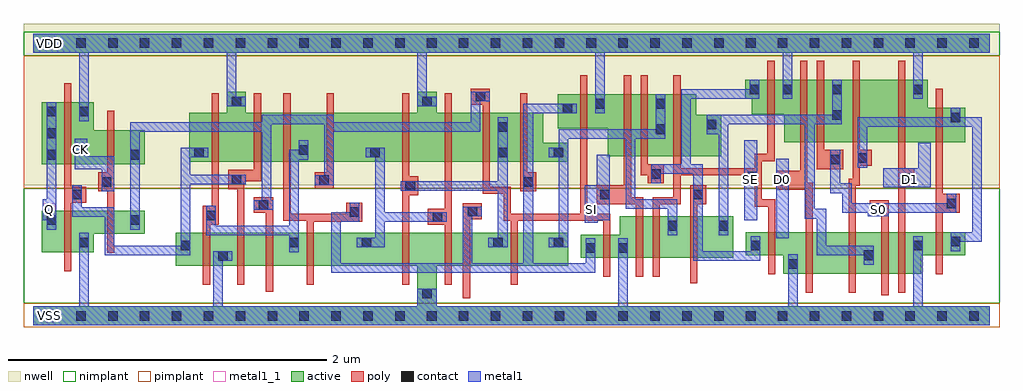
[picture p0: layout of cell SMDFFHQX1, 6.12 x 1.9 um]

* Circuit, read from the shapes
.subckt SMDFFHQX1 CK D0 D1 Q S0 SE SI VDD VSS
M1 VSS n1 Q VSS nfet w=0.26u l=0.045u
M2 n2 CK VSS VSS nfet w=0.145u l=0.045u
M3 VSS n3 n1 VSS nfet w=0.205u l=0.045u
M4 n4 n1 VSS VSS nfet w=0.205u l=0.045u
M5 n3 n2 n4 VSS nfet w=0.205u l=0.045u
M6 n5 n6 n3 VSS nfet w=0.205u l=0.045u
M7 VSS n7 n5 VSS nfet w=0.205u l=0.045u
M8 n8 n5 VSS VSS nfet w=0.205u l=0.045u
M9 n7 n6 n8 VSS nfet w=0.205u l=0.045u
M10 n9 n2 n7 VSS nfet w=0.205u l=0.045u
M11 VSS n2 n6 VSS nfet w=0.145u l=0.045u
M12 n10 SI VSS VSS nfet w=0.26u l=0.045u
M13 n9 SE n10 VSS nfet w=0.26u l=0.045u
M14 n11 n12 n9 VSS nfet w=0.26u l=0.045u
M15 VSS SE n12 VSS nfet w=0.145u l=0.045u
M16 n13 D0 VSS VSS nfet w=0.26u l=0.045u
M17 n11 n14 n13 VSS nfet w=0.26u l=0.045u
M18 n15 S0 n11 VSS nfet w=0.26u l=0.045u
M19 VSS D1 n15 VSS nfet w=0.26u l=0.045u
M20 n14 S0 VSS VSS nfet w=0.145u l=0.045u
M21 VDD n1 Q VDD pfet w=0.39u l=0.045u
M22 n2 CK VDD VDD pfet w=0.215u l=0.045u
M23 VDD n3 n1 VDD pfet w=0.31u l=0.045u
M24 n16 n1 VDD VDD pfet w=0.31u l=0.045u
M25 n3 n6 n16 VDD pfet w=0.31u l=0.045u
M26 n5 n2 n3 VDD pfet w=0.31u l=0.045u
M27 VDD n7 n5 VDD pfet w=0.31u l=0.045u
M28 n17 n5 VDD VDD pfet w=0.31u l=0.045u
M29 n7 n2 n17 VDD pfet w=0.31u l=0.045u
M30 n9 n6 n7 VDD pfet w=0.31u l=0.045u
M31 VDD n2 n6 VDD pfet w=0.215u l=0.045u
M32 n18 SI VDD VDD pfet w=0.39u l=0.045u
M33 n9 n12 n18 VDD pfet w=0.39u l=0.045u
M34 n11 SE n9 VDD pfet w=0.39u l=0.045u
M35 VDD SE n12 VDD pfet w=0.215u l=0.045u
M36 n19 D0 VDD VDD pfet w=0.39u l=0.045u
M37 n11 S0 n19 VDD pfet w=0.39u l=0.045u
M38 n20 n14 n11 VDD pfet w=0.39u l=0.045u
M39 VDD D1 n20 VDD pfet w=0.39u l=0.045u
M40 n14 S0 VDD VDD pfet w=0.215u l=0.045u
.ends

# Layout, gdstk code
import gdstk
lib = gdstk.Library(unit=1e-6, precision=5e-10)
def R(c, l, rs):  # rectangles x0, y0, x1, y1
    for r in rs: c.add(gdstk.rectangle(r[:2], r[2:], *l))
def A(c, l, x, y, w, h, nx, ny, dx, dy):  # array of equal rectangles
    R(c, l, [(x+i*dx, y+j*dy, x+i*dx+w, y+j*dy+h) for i in range(nx) for j in range(ny)])
def P(c, l, *ps):  # polygons
    for p in ps: c.add(gdstk.Polygon(p, *l))
active = (1, 0)
nwell = (2, 0)
poly = (3, 0)
nimplant = (4, 0)
pimplant = (5, 0)
contact = (6, 0)
metal1 = (7, 0)
metal1_1 = (7, 1)

smdffhqx1 = lib.new_cell('SMDFFHQX1')
R(smdffhqx1, active, [(0,1.65,6,1.77)])
P(smdffhqx1, active, [(0.055,1.34),(0.38,1.34),(0.38,1.165),(0.7,1.165),(0.7,0.95),(0.055,0.95)],
  [(1.215,1.405),(1.335,1.405),(1.335,1.275),(2.41,1.275),(2.41,1.405),(2.53,1.405),(2.53,1.275),(3.2,1.275),(3.2,1.085),(3.355,1.085),(3.355,0.965),(0.98,0.965),(0.98,1.275),(1.215,1.275)],
  [(3.29,1.39),(4.16,1.39),(4.16,1.26),(4.315,1.26),(4.315,1),(3.605,1),(3.605,1.175),(3.29,1.175)],
  [(4.465,1.48),(5.61,1.48),(5.61,1.305),(5.845,1.305),(5.845,1.09),(4.71,1.09),(4.71,1.265),(4.505,1.265),(4.505,1.36),(4.465,1.36)],
  [(0.055,0.66),(0.7,0.66),(0.7,0.515),(0.38,0.515),(0.38,0.4),(0.055,0.4)],
  [(3.68,0.625),(4.39,0.625),(4.39,0.365),(3.435,0.365),(3.435,0.51),(3.68,0.51)],
  [(0.895,0.52),(3.355,0.52),(3.355,0.315),(2.53,0.315),(2.53,0.06),(6,0.06),(6,-0.06),(0,-0.06),(0,0.06),(2.41,0.06),(2.41,0.315),(0.895,0.315)],
  [(4.47,0.525),(5.845,0.525),(5.845,0.38),(5.57,0.38),(5.57,0.265),(4.705,0.265),(4.705,0.38),(4.47,0.38)])
R(smdffhqx1, nwell, [(-0.06,0.82,6.06,1.83)])
P(smdffhqx1, poly, [(0.195,1.46),(0.24,1.46),(0.24,0.81),(0.335,0.81),(0.335,0.71),(0.24,0.71),(0.24,0.28),(0.195,0.28)],
  [(2.745,1.425),(2.865,1.425),(2.865,0.81),(2.995,0.81),(2.995,0.64),(3.43,0.64),(3.43,1.51),(3.475,1.51),(3.475,0.64),(3.62,0.64),(3.62,0.245),(3.575,0.245),(3.575,0.595),(3.04,0.595),(3.04,0.195),(2.995,0.195),(2.995,0.595),(2.95,0.595),(2.95,0.765),(2.82,0.765),(2.82,1.325),(2.745,1.325)],
  [(0.465,1.285),(0.51,1.285),(0.51,0.395),(0.465,0.395),(0.465,0.78),(0.41,0.78),(0.41,0.9),(0.465,0.9)],
  [(1.12,1.395),(1.165,1.395),(1.165,0.57),(1.11,0.57),(1.11,0.195),(1.065,0.195),(1.065,0.69),(1.12,0.69)],
  [(1.385,1.395),(1.43,1.395),(1.43,0.845),(1.325,0.845),(1.325,0.195),(1.28,0.195),(1.28,0.795),(1.225,0.795),(1.225,0.915),(1.385,0.915)],
  [(1.57,1.395),(1.615,1.395),(1.615,0.64),(1.965,0.64),(1.965,0.71),(2.065,0.71),(2.065,0.59),(1.76,0.59),(1.76,0.195),(1.715,0.195),(1.715,0.595),(1.57,0.595)],
  [(1.84,1.395),(1.885,1.395),(1.885,0.8),(1.765,0.8),(1.765,0.9),(1.84,0.9)],
  [(2.315,1.395),(2.36,1.395),(2.36,0.875),(2.415,0.875),(2.415,0.755),(2.36,0.755),(2.36,0.195),(2.315,0.195)],
  [(2.58,1.395),(2.625,1.395),(2.625,0.195),(2.58,0.195),(2.58,0.57),(2.475,0.57),(2.475,0.67),(2.58,0.67)],
  [(3.705,1.51),(3.75,1.51),(3.75,0.745),(3.825,0.745),(3.825,0.245),(3.78,0.245),(3.78,0.7),(3.535,0.7),(3.535,0.82),(3.705,0.82)],
  [(3.81,1.51),(3.855,1.51),(3.855,0.95),(3.955,0.95),(3.955,0.83),(3.855,0.83),(3.855,0.88),(3.81,0.88)],
  [(4.015,1.51),(4.06,1.51),(4.06,0.925),(4.525,0.925),(4.525,1.015),(4.605,1.015),(4.605,1.6),(4.65,1.6),(4.65,0.97),(4.57,0.97),(4.57,0.73),(4.655,0.73),(4.655,0.26),(4.61,0.26),(4.61,0.685),(4.525,0.685),(4.525,0.825),(4.45,0.825),(4.45,0.88),(4.06,0.88),(4.06,0.7),(3.93,0.7),(3.93,0.245),(3.885,0.245),(3.885,0.745),(4.015,0.745)],
  [(4.81,1.6),(4.855,1.6),(4.855,0.835),(4.89,0.835),(4.89,0.145),(4.845,0.145),(4.845,0.79),(4.66,0.79),(4.66,0.91),(4.81,0.91)],
  [(4.915,1.6),(4.96,1.6),(4.96,1.04),(5.08,1.04),(5.08,0.92),(4.915,0.92)],
  [(5.14,1.6),(5.185,1.6),(5.185,1.04),(5.26,1.04),(5.26,0.94),(5.185,0.94),(5.185,0.815),(5.16,0.815),(5.16,0.145),(5.115,0.145),(5.115,0.86),(5.14,0.86)],
  [(5.425,1.6),(5.47,1.6),(5.47,0.925),(5.525,0.925),(5.525,0.805),(5.47,0.805),(5.47,0.145),(5.425,0.145)],
  [(3.055,1.395),(3.1,1.395),(3.1,0.9),(3.155,0.9),(3.155,0.78),(3.055,0.78)],
  [(5.66,1.425),(5.705,1.425),(5.705,0.765),(5.81,0.765),(5.81,0.645),(5.705,0.645),(5.705,0.26),(5.66,0.26)],
  [(4.12,0.82),(4.22,0.82),(4.22,0.7),(4.165,0.7),(4.165,0.205),(4.12,0.205)],
  [(1.385,0.745),(1.505,0.745),(1.505,0.15),(1.46,0.15),(1.46,0.645),(1.385,0.645)],
  [(2.695,0.705),(2.815,0.705),(2.815,0.605),(2.74,0.605),(2.74,0.11),(2.695,0.11)],
  [(5.245,0.725),(5.365,0.725),(5.365,0.13),(5.32,0.13),(5.32,0.625),(5.245,0.625)])
R(smdffhqx1, nimplant, [(-0.06,0.08,6.06,0.8), (-0.06,1.63,6.06,1.78)])
R(smdffhqx1, pimplant, [(-0.06,-0.07,6.06,0.08), (-0.06,0.8,6.06,1.63)])
A(smdffhqx1, contact, 0.07, -0.03, 0.06, 0.06, 30, 2, 0.2, 1.71)
A(smdffhqx1, contact, 0.085, 0.98, 0.06, 0.06, 1, 3, 0, 0.135)
R(smdffhqx1, contact, [(2.44,0.11,2.5,0.17), (4.735,0.295,4.795,0.355), (1.16,0.345,1.22,0.405), (5.21,0.35,5.27,0.41), (3.465,0.395,3.525,0.455), (3.67,0.395,3.73,0.455), (0.925,0.41,0.985,0.47), (4.5,0.41,4.56,0.47), (5.52,0.41,5.58,0.47), (0.29,0.43,0.35,0.49), (1.605,0.43,1.665,0.49), (2.06,0.43,2.12,0.49), (2.885,0.43,2.945,0.49), (3.265,0.43,3.325,0.49), (5.755,0.435,5.815,0.495), (3.98,0.535,4.04,0.595), (4.3,0.535,4.36,0.595), (0.085,0.57,0.145,0.63), (0.61,0.57,0.67,0.63), (2.505,0.59,2.565,0.65), (1.085,0.6,1.145,0.66), (1.985,0.62,2.045,0.68), (2.725,0.625,2.785,0.685), (5.275,0.645,5.335,0.705), (1.415,0.665,1.475,0.725), (5.73,0.675,5.79,0.735), (0.245,0.73,0.305,0.79), (3.555,0.73,3.615,0.79), (4.14,0.73,4.2,0.79), (2.335,0.785,2.395,0.845), (0.43,0.81,0.49,0.87), (3.075,0.81,3.135,0.87), (1.795,0.82,1.855,0.88), (4.68,0.82,4.74,0.88), (1.245,0.825,1.305,0.885), (5.445,0.835,5.505,0.895), (4.48,0.845,4.54,0.905), (3.875,0.86,3.935,0.92), (5,0.95,5.06,1.01), (5.17,0.96,5.23,1.02), (0.61,0.98,0.67,1.04), (1.01,0.995,1.07,1.055), (2.115,0.995,2.175,1.055), (2.915,0.995,2.975,1.055), (3.265,0.995,3.325,1.055), (1.665,1.01,1.725,1.07), (3.905,1.14,3.965,1.2), (2.915,1.155,2.975,1.215), (4.225,1.17,4.285,1.23), (5.755,1.215,5.815,1.275), (5.01,1.23,5.07,1.29), (0.29,1.25,0.35,1.31), (3.32,1.27,3.38,1.33), (3.525,1.3,3.585,1.36), (3.905,1.3,3.965,1.36), (1.245,1.315,1.305,1.375), (2.44,1.315,2.5,1.375), (2.775,1.345,2.835,1.405), (4.495,1.39,4.555,1.45), (4.7,1.39,4.76,1.45), (5.01,1.39,5.07,1.45), (5.52,1.39,5.58,1.45)])
R(smdffhqx1, metal1, [(4.66,0.485,4.74,0.985), (4.46,0.6,4.54,1.1)])
P(smdffhqx1, metal1, [(0,1.77),(6,1.77),(6,1.65),(5.58,1.65),(5.58,1.36),(5.52,1.36),(5.52,1.65),(4.76,1.65),(4.76,1.36),(4.7,1.36),(4.7,1.65),(3.585,1.65),(3.585,1.27),(3.525,1.27),(3.525,1.65),(2.47,1.65),(2.47,1.375),(2.53,1.375),(2.53,1.315),(2.41,1.315),(2.41,1.65),(1.275,1.65),(1.275,1.375),(1.335,1.375),(1.335,1.315),(1.215,1.315),(1.215,1.65),(0.35,1.65),(0.35,1.22),(0.29,1.22),(0.29,1.65),(0,1.65)],
  [(0.085,1.34),(0.145,1.34),(0.145,0.54),(0.085,0.54),(0.085,0.6),(0.06,0.6),(0.06,0.73),(0.085,0.73)],
  [(2.745,1.405),(2.865,1.405),(2.865,1.345),(2.805,1.345),(2.805,1.155),(1.885,1.155),(1.885,0.82),(1.765,0.82),(1.765,0.88),(1.825,0.88),(1.825,1.2),(1.495,1.2),(1.495,0.725),(1.505,0.725),(1.505,0.665),(1.385,0.665),(1.385,0.725),(1.435,0.725),(1.435,1.155),(0.67,1.155),(0.67,0.54),(0.61,0.54),(0.61,1.215),(1.435,1.215),(1.435,1.26),(1.885,1.26),(1.885,1.215),(2.745,1.215)],
  [(0.26,1.11),(0.34,1.11),(0.34,1),(0.51,1),(0.51,0.78),(0.43,0.78),(0.43,0.92),(0.26,0.92)],
  [(0.925,1.055),(1.1,1.055),(1.1,0.995),(0.985,0.995),(0.985,0.885),(1.335,0.885),(1.335,0.825),(0.985,0.825),(0.985,0.38),(0.45,0.38),(0.45,0.62),(0.245,0.62),(0.245,0.82),(0.305,0.82),(0.305,0.68),(0.51,0.68),(0.51,0.44),(0.925,0.44)],
  [(0.29,0.52),(0.35,0.52),(0.35,0.06),(1.13,0.06),(1.13,0.405),(1.25,0.405),(1.25,0.345),(1.19,0.345),(1.19,0.06),(2.41,0.06),(2.41,0.17),(2.53,0.17),(2.53,0.06),(3.67,0.06),(3.67,0.485),(3.73,0.485),(3.73,0.06),(4.735,0.06),(4.735,0.385),(4.795,0.385),(4.795,0.06),(5.52,0.06),(5.52,0.5),(5.58,0.5),(5.58,0.06),(6,0.06),(6,-0.06),(0,-0.06),(0,0.06),(0.29,0.06)],
  [(1.665,1.1),(1.725,1.1),(1.725,0.98),(1.665,0.98),(1.665,0.4),(1.605,0.4),(1.605,0.505),(1.085,0.505),(1.085,0.69),(1.145,0.69),(1.145,0.565),(1.605,0.565),(1.605,1.04),(1.665,1.04)],
  [(2.915,1.245),(2.975,1.245),(2.975,0.43),(2.855,0.43),(2.855,0.49),(2.915,0.49),(2.915,0.785),(2.305,0.785),(2.305,0.845),(2.915,0.845)],
  [(3.075,1.33),(3.41,1.33),(3.41,1.27),(3.135,1.27),(3.135,0.33),(3.465,0.33),(3.465,0.485),(3.525,0.485),(3.525,0.27),(1.87,0.27),(1.87,0.65),(1.985,0.65),(1.985,0.71),(2.045,0.71),(2.045,0.59),(1.93,0.59),(1.93,0.33),(2.695,0.33),(2.695,0.685),(2.815,0.685),(2.815,0.625),(2.755,0.625),(2.755,0.33),(3.075,0.33)],
  [(2.085,1.055),(2.205,1.055),(2.205,0.65),(2.595,0.65),(2.595,0.59),(2.205,0.59),(2.205,0.43),(2.03,0.43),(2.03,0.49),(2.145,0.49),(2.145,0.995),(2.085,0.995)],
  [(3.905,1.39),(3.965,1.39),(3.965,1.11),(3.775,1.11),(3.775,0.73),(4.04,0.73),(4.04,0.505),(3.98,0.505),(3.98,0.67),(3.715,0.67),(3.715,1.11),(3.355,1.11),(3.355,0.43),(3.235,0.43),(3.235,0.49),(3.295,0.49),(3.295,0.995),(3.235,0.995),(3.235,1.055),(3.295,1.055),(3.295,1.17),(3.905,1.17)],
  [(4.495,1.48),(4.555,1.48),(4.555,1.36),(4.125,1.36),(4.125,0.95),(4.2,0.95),(4.2,0.405),(4.5,0.405),(4.5,0.5),(4.56,0.5),(4.56,0.345),(4.14,0.345),(4.14,0.89),(3.935,0.89),(3.935,0.83),(3.875,0.83),(3.875,0.95),(4.065,0.95),(4.065,1.42),(4.495,1.42)],
  [(3.535,1.01),(3.615,1.01),(3.615,0.6),(3.54,0.6),(3.54,0.585),(3.46,0.585),(3.46,0.82),(3.535,0.82)],
  [(5.01,1.48),(5.07,1.48),(5.07,1.2),(4.9,1.2),(4.9,0.67),(4.975,0.67),(4.975,0.44),(5.27,0.44),(5.27,0.32),(5.21,0.32),(5.21,0.38),(4.915,0.38),(4.915,0.61),(4.84,0.61),(4.84,1.2),(4.36,1.2),(4.36,0.505),(4.3,0.505),(4.3,1.14),(4.225,1.14),(4.225,1.26),(5.01,1.26)],
  [(5.755,1.305),(5.815,1.305),(5.815,1.245),(5.95,1.245),(5.95,0.465),(5.815,0.465),(5.815,0.405),(5.755,0.405),(5.755,0.525),(5.89,0.525),(5.89,1.185),(5.23,1.185),(5.23,0.93),(5.17,0.93),(5.17,1.245),(5.755,1.245)],
  [(5,1.04),(5.06,1.04),(5.06,0.83),(5.135,0.83),(5.135,0.705),(5.73,0.705),(5.73,0.765),(5.79,0.765),(5.79,0.645),(5.365,0.645),(5.365,0.625),(5.235,0.625),(5.235,0.645),(5.075,0.645),(5.075,0.77),(5,0.77)],
  [(5.55,1.085),(5.63,1.085),(5.63,0.805),(5.33,0.805),(5.33,0.925),(5.55,0.925)])
R(smdffhqx1, metal1_1, [(0.06,-0.04,0.14,0.04), (0.06,0.625,0.14,0.705), (3.46,0.625,3.54,0.705), (5.26,0.625,5.34,0.705), (4.46,0.815,4.54,0.895), (4.66,0.815,4.74,0.895), (5.46,0.815,5.54,0.895), (0.26,1.005,0.34,1.085), (0.06,1.67,0.14,1.75)])
smdffhqx1.add(gdstk.Label('Q', (0.1,0.665), layer=7, texttype=1))
smdffhqx1.add(gdstk.Label('S0', (5.3,0.665), layer=7, texttype=1))
smdffhqx1.add(gdstk.Label('D1', (5.5,0.855), layer=7, texttype=1))
smdffhqx1.add(gdstk.Label('D0', (4.7,0.855), layer=7, texttype=1))
smdffhqx1.add(gdstk.Label('SE', (4.5,0.855), layer=7, texttype=1))
smdffhqx1.add(gdstk.Label('SI', (3.5,0.665), layer=7, texttype=1))
smdffhqx1.add(gdstk.Label('CK', (0.3,1.045), layer=7, texttype=1))
smdffhqx1.add(gdstk.Label('VDD', (0.1,1.71), layer=7, texttype=1))
smdffhqx1.add(gdstk.Label('VSS', (0.1,0), layer=7, texttype=1))
smdffhqx1.add(gdstk.Label('SMDFFHQX1', (0,0), layer=63, texttype=0))

lib.write_gds('SMDFFHQX1.gds')
